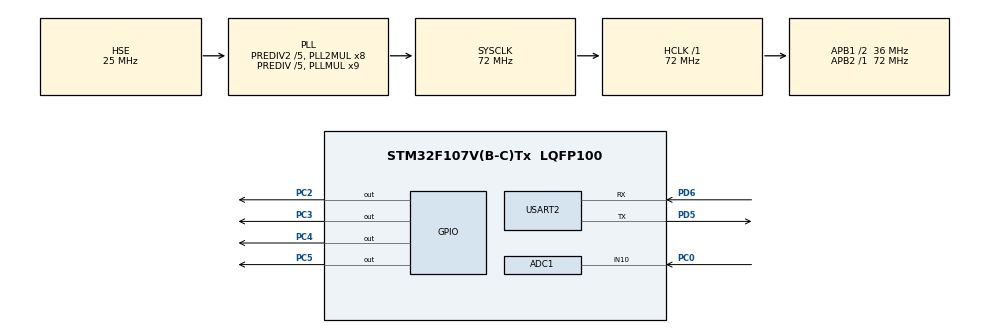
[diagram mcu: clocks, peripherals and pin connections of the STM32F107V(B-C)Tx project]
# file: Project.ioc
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ADC1.Channel-0\#ChannelRegularConversion=ADC_CHANNEL_10
ADC1.ContinuousConvMode=DISABLE
ADC1.NbrOfConversionFlag=1
ADC1.Rank-0\#ChannelRegularConversion=1
ADC1.SamplingTime-0\#ChannelRegularConversion=ADC_SAMPLETIME_1CYCLE_5
ADC1.master=1
Mcu.Family=STM32F1
Mcu.Name=STM32F107V(B-C)Tx
Mcu.Package=LQFP100
NVIC.PriorityGroup=NVIC_PRIORITYGROUP_4
OSC_IN.Mode=HSE-External-Oscillator
OSC_IN.Signal=RCC_OSC_IN
OSC_OUT.Mode=HSE-External-Oscillator
OSC_OUT.Signal=RCC_OSC_OUT
PA13.Mode=Serial_Wire
PA13.Signal=SYS_JTMS-SWDIO
PA14.Mode=Serial_Wire
PA14.Signal=SYS_JTCK-SWCLK
PC0.Signal=ADCx_IN10
PC2.Signal=GPIO_Output
PC3.Signal=GPIO_Output
PC4.Signal=GPIO_Output
PC5.Signal=GPIO_Output
PD5.Mode=Asynchronous
PD5.Signal=USART2_TX
PD6.Mode=Asynchronous
PD6.Signal=USART2_RX
ProjectManager.HeapSize=0x200
ProjectManager.StackSize=0x400
ProjectManager.TargetToolchain=MDK-ARM V5
RCC.ADCPresc=RCC_ADCPCLK2_DIV6
RCC.AHBFreq_Value=72000000
RCC.APB1CLKDivider=RCC_HCLK_DIV2
RCC.APB1Freq_Value=36000000
RCC.APB1TimFreq_Value=72000000
RCC.APB2Freq_Value=72000000
RCC.APB2TimFreq_Value=72000000
RCC.HCLKFreq_Value=72000000
RCC.HSEDivPLL=RCC_HSE_PREDIV_DIV5
RCC.HSE_VALUE=25000000
RCC.PLLMUL=RCC_PLL_MUL9
RCC.PLLSourceVirtual=RCC_PLLSOURCE_HSE
RCC.Prediv1Source=RCC_PREDIV1_SOURCE_PLL2
RCC.Prediv2=RCC_HSE_PREDIV2_DIV5
RCC.SYSCLKFreq_VALUE=72000000
RCC.SYSCLKSource=RCC_SYSCLKSOURCE_PLLCLK
RCC.USBFreq_Value=48000000
SH.ADCx_IN10.0=ADC1_IN10,IN10
USART2.VirtualMode=VM_ASYNC
board=Project

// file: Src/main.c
/**
  ******************************************************************************
  * File Name          : main.c
  * Description        : Main program body
  ******************************************************************************
  ** This notice applies to any and all portions of this file
  * that are not between comment pairs USER CODE BEGIN and
  * USER CODE END. Other portions of this file, whether
  * inserted by the user or by software development tools
  * are owned by their respective copyright owners.
  *
  * COPYRIGHT(c) 2017 STMicroelectronics
  *
  * Redistribution and use in source and binary forms, with or without modification,
  * are permitted provided that the following conditions are met:
  *   1. Redistributions of source code must retain the above copyright notice,
  *      this list of conditions and the following disclaimer.
  *   2. Redistributions in binary form must reproduce the above copyright notice,
  *      this list of conditions and the following disclaimer in the documentation
  *      and/or other materials provided with the distribution.
  *   3. Neither the name of STMicroelectronics nor the names of its contributors
  *      may be used to endorse or promote products derived from this software
  *      without specific prior written permission.
  *
  * THIS SOFTWARE IS PROVIDED BY THE COPYRIGHT HOLDERS AND CONTRIBUTORS "AS IS"
  * AND ANY EXPRESS OR IMPLIED WARRANTIES, INCLUDING, BUT NOT LIMITED TO, THE
  * IMPLIED WARRANTIES OF MERCHANTABILITY AND FITNESS FOR A PARTICULAR PURPOSE ARE
  * DISCLAIMED. IN NO EVENT SHALL THE COPYRIGHT HOLDER OR CONTRIBUTORS BE LIABLE
  * FOR ANY DIRECT, INDIRECT, INCIDENTAL, SPECIAL, EXEMPLARY, OR CONSEQUENTIAL
  * DAMAGES (INCLUDING, BUT NOT LIMITED TO, PROCUREMENT OF SUBSTITUTE GOODS OR
  * SERVICES; LOSS OF USE, DATA, OR PROFITS; OR BUSINESS INTERRUPTION) HOWEVER
  * CAUSED AND ON ANY THEORY OF LIABILITY, WHETHER IN CONTRACT, STRICT LIABILITY,
  * OR TORT (INCLUDING NEGLIGENCE OR OTHERWISE) ARISING IN ANY WAY OUT OF THE USE
  * OF THIS SOFTWARE, EVEN IF ADVISED OF THE POSSIBILITY OF SUCH DAMAGE.
  *
  ******************************************************************************
  */
#include "main.h"
#include "stm32f1xx_hal.h"

ADC_HandleTypeDef hadc1;

UART_HandleTypeDef huart2;

/* USER CODE BEGIN PV */
/* Private variables ---------------------------------------------------------*/
uint16_t adcValue=0;
char buffer[20];
/* USER CODE END PV */

void SystemClock_Config(void);
static void MX_GPIO_Init(void);
static void MX_ADC1_Init(void);
static void MX_USART2_UART_Init(void);

/* USER CODE BEGIN PFP */
/* Private function prototypes -----------------------------------------------*/

/* USER CODE END PFP */

int main(void)
{

  /* MCU Configuration----------------------------------------------------------*/

  /* Reset of all peripherals, Initializes the Flash interface and the Systick. */
  HAL_Init();

  /* Configure the system clock */
  SystemClock_Config();

  /* Initialize all configured peripherals */
  MX_GPIO_Init();
  MX_ADC1_Init();
  MX_USART2_UART_Init();

  /* Infinite loop */
  while (1)
  {

  /* USER CODE BEGIN 3 */
	HAL_Delay(200);
	HAL_ADC_Start(&hadc1);
	HAL_ADC_PollForConversion(&hadc1,10);
	adcValue=HAL_ADC_GetValue(&hadc1);
	HAL_ADC_Stop(&hadc1);
	sprintf(buffer,"Temper is:%d\r\n",adcValue);
	HAL_UART_Transmit(&huart2,(uint8_t*) buffer,20,10);
	if (adcValue<1000){
	HAL_GPIO_WritePin(GPIOC,GPIO_PIN_5,GPIO_PIN_SET);
	HAL_GPIO_WritePin(GPIOC,GPIO_PIN_4,GPIO_PIN_RESET);
	HAL_GPIO_WritePin(GPIOC,GPIO_PIN_3,GPIO_PIN_RESET);
	HAL_GPIO_WritePin(GPIOC,GPIO_PIN_2,GPIO_PIN_RESET);

	}
	else if(adcValue<2000){
	HAL_GPIO_WritePin(GPIOC,GPIO_PIN_5,GPIO_PIN_SET);
	HAL_GPIO_WritePin(GPIOC,GPIO_PIN_4,GPIO_PIN_SET);
	HAL_GPIO_WritePin(GPIOC,GPIO_PIN_3,GPIO_PIN_RESET);
	HAL_GPIO_WritePin(GPIOC,GPIO_PIN_2,GPIO_PIN_RESET);
	}
	else if(adcValue<3000){
	HAL_GPIO_WritePin(GPIOC,GPIO_PIN_5,GPIO_PIN_SET);
	HAL_GPIO_WritePin(GPIOC,GPIO_PIN_4,GPIO_PIN_SET);
	HAL_GPIO_WritePin(GPIOC,GPIO_PIN_3,GPIO_PIN_SET);
	HAL_GPIO_WritePin(GPIOC,GPIO_PIN_2,GPIO_PIN_RESET);
	}
	else{
	HAL_GPIO_WritePin(GPIOC,GPIO_PIN_5,GPIO_PIN_SET);
	HAL_GPIO_WritePin(GPIOC,GPIO_PIN_4,GPIO_PIN_SET);
	HAL_GPIO_WritePin(GPIOC,GPIO_PIN_3,GPIO_PIN_SET);
	HAL_GPIO_WritePin(GPIOC,GPIO_PIN_2,GPIO_PIN_SET);
	}
  }
  /* USER CODE END 3 */

}

/** System Clock Configuration
*/
void SystemClock_Config(void)
{

  RCC_OscInitTypeDef RCC_OscInitStruct;
  RCC_ClkInitTypeDef RCC_ClkInitStruct;
  RCC_PeriphCLKInitTypeDef PeriphClkInit;

    /**Initializes the CPU, AHB and APB busses clocks
    */
  RCC_OscInitStruct.OscillatorType = RCC_OSCILLATORTYPE_HSE;
  RCC_OscInitStruct.HSEState = RCC_HSE_ON;
  RCC_OscInitStruct.HSEPredivValue = RCC_HSE_PREDIV_DIV5;
  RCC_OscInitStruct.HSIState = RCC_HSI_ON;
  RCC_OscInitStruct.Prediv1Source = RCC_PREDIV1_SOURCE_PLL2;
  RCC_OscInitStruct.PLL.PLLState = RCC_PLL_ON;
  RCC_OscInitStruct.PLL.PLLSource = RCC_PLLSOURCE_HSE;
  RCC_OscInitStruct.PLL.PLLMUL = RCC_PLL_MUL9;
  RCC_OscInitStruct.PLL2.PLL2State = RCC_PLL2_ON;
  RCC_OscInitStruct.PLL2.PLL2MUL = RCC_PLL2_MUL8;
  RCC_OscInitStruct.PLL2.HSEPrediv2Value = RCC_HSE_PREDIV2_DIV5;
  if (HAL_RCC_OscConfig(&RCC_OscInitStruct) != HAL_OK)
  {
    _Error_Handler(__FILE__, __LINE__);
  }

    /**Initializes the CPU, AHB and APB busses clocks
    */
  RCC_ClkInitStruct.ClockType = RCC_CLOCKTYPE_HCLK|RCC_CLOCKTYPE_SYSCLK
                              |RCC_CLOCKTYPE_PCLK1|RCC_CLOCKTYPE_PCLK2;
  RCC_ClkInitStruct.SYSCLKSource = RCC_SYSCLKSOURCE_PLLCLK;
  RCC_ClkInitStruct.AHBCLKDivider = RCC_SYSCLK_DIV1;
  RCC_ClkInitStruct.APB1CLKDivider = RCC_HCLK_DIV2;
  RCC_ClkInitStruct.APB2CLKDivider = RCC_HCLK_DIV1;

  if (HAL_RCC_ClockConfig(&RCC_ClkInitStruct, FLASH_LATENCY_2) != HAL_OK)
  {
    _Error_Handler(__FILE__, __LINE__);
  }

  PeriphClkInit.PeriphClockSelection = RCC_PERIPHCLK_ADC;
  PeriphClkInit.AdcClockSelection = RCC_ADCPCLK2_DIV6;
  if (HAL_RCCEx_PeriphCLKConfig(&PeriphClkInit) != HAL_OK)
  {
    _Error_Handler(__FILE__, __LINE__);
  }

    /**Configure the Systick interrupt time
    */
  HAL_SYSTICK_Config(HAL_RCC_GetHCLKFreq()/1000);

    /**Configure the Systick
    */
  HAL_SYSTICK_CLKSourceConfig(SYSTICK_CLKSOURCE_HCLK);

    /**Configure the Systick interrupt time
    */
  __HAL_RCC_PLLI2S_ENABLE();

  /* SysTick_IRQn interrupt configuration */
  HAL_NVIC_SetPriority(SysTick_IRQn, 0, 0);
}

/* ADC1 init function */
static void MX_ADC1_Init(void)
{

  ADC_ChannelConfTypeDef sConfig;

    /**Common config
    */
  hadc1.Instance = ADC1;
  hadc1.Init.ScanConvMode = ADC_SCAN_DISABLE;
  hadc1.Init.ContinuousConvMode = DISABLE;
  hadc1.Init.DiscontinuousConvMode = DISABLE;
  hadc1.Init.ExternalTrigConv = ADC_SOFTWARE_START;
  hadc1.Init.DataAlign = ADC_DATAALIGN_RIGHT;
  hadc1.Init.NbrOfConversion = 1;
  if (HAL_ADC_Init(&hadc1) != HAL_OK)
  {
    _Error_Handler(__FILE__, __LINE__);
  }

    /**Configure Regular Channel
    */
  sConfig.Channel = ADC_CHANNEL_10;
  sConfig.Rank = 1;
  sConfig.SamplingTime = ADC_SAMPLETIME_1CYCLE_5;
  if (HAL_ADC_ConfigChannel(&hadc1, &sConfig) != HAL_OK)
  {
    _Error_Handler(__FILE__, __LINE__);
  }

}

/* USART2 init function */
static void MX_USART2_UART_Init(void)
{

  huart2.Instance = USART2;
  huart2.Init.BaudRate = 115200;
  huart2.Init.WordLength = UART_WORDLENGTH_8B;
  huart2.Init.StopBits = UART_STOPBITS_1;
  huart2.Init.Parity = UART_PARITY_NONE;
  huart2.Init.Mode = UART_MODE_TX_RX;
  huart2.Init.HwFlowCtl = UART_HWCONTROL_NONE;
  huart2.Init.OverSampling = UART_OVERSAMPLING_16;
  if (HAL_UART_Init(&huart2) != HAL_OK)
  {
    _Error_Handler(__FILE__, __LINE__);
  }

}

/** Configure pins as
        * Analog
        * Input
        * Output
        * EVENT_OUT
        * EXTI
*/
static void MX_GPIO_Init(void)
{

  GPIO_InitTypeDef GPIO_InitStruct;

  /* GPIO Ports Clock Enable */
  __HAL_RCC_GPIOC_CLK_ENABLE();
  __HAL_RCC_GPIOA_CLK_ENABLE();
  __HAL_RCC_GPIOD_CLK_ENABLE();

  /*Configure GPIO pin Output Level */
  HAL_GPIO_WritePin(GPIOC, GPIO_PIN_2|GPIO_PIN_3|GPIO_PIN_4|GPIO_PIN_5, GPIO_PIN_RESET);

  /*Configure GPIO pins : PC2 PC3 PC4 PC5 */
  GPIO_InitStruct.Pin = GPIO_PIN_2|GPIO_PIN_3|GPIO_PIN_4|GPIO_PIN_5;
  GPIO_InitStruct.Mode = GPIO_MODE_OUTPUT_PP;
  GPIO_InitStruct.Speed = GPIO_SPEED_FREQ_LOW;
  HAL_GPIO_Init(GPIOC, &GPIO_InitStruct);

}

void _Error_Handler(char * file, int line)
{
  while(1)
  {
  }
}

/************************ (C) COPYRIGHT STMicroelectronics *****END OF FILE****/
